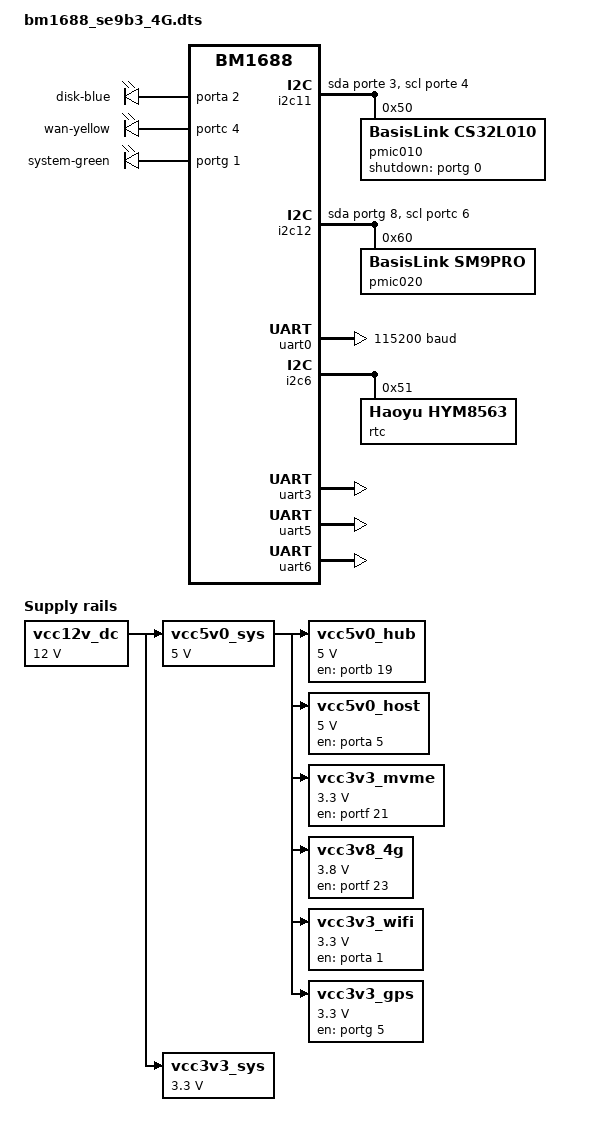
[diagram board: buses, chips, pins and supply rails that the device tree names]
/dts-v1/;
#include "soph_base_arm64.dtsi"
//#include "soph_asic_bga.dtsi"
#include "soph_asic_emmc.dtsi"
#include "soph_default_memmap_4G.dtsi"

/ {
	aliases {
		serial0 = &uart0;
	};

	chosen {
		stdout-path = "serial2"; // "serial0:115200n8", no arguments means no re-initialization
	};

	reserved-memory {
		#address-cells = <0x2>;
		#size-cells = <0x2>;
		ranges;
#ifndef __UBOOT__
		//0x1_0400_0000 - 0x1_2400_0000 for TPU (owner: zhuolin.li@sophgo.com)
		scalar_reserved: scalar_mem {
			reg = <0x1 0x04000000 0x0 0x20000000>;  //512MB for TPU firmware
			no-map;
		};

		//0x1_2c00_0000 - 0x1_5c00_0000 for TPU (owner: zhuolin.li@sophgo.com)
		ion_for_npu: ion_npu_mem {
			compatible = "npu-region";
			reg = <0x1 0x24000000 0x0 0x30000000>; // 768MB, for TPU
		};

		cma_reserved: linux,cma {
			compatible = "shared-dma-pool";
			reusable;
			size = <0x0 0x10000000>; // 256m for cma
			alloc-ranges = <0x1 0x54000000 0x0 0x10000000>;
			alignment = <0x0 0x100000>; // 1MB
			linux,cma-default;
		};

		//0x1_6400_0000 - 0x1_B400_0000 for VPP
		ion_for_vpp: ion_vpp_mem {
			compatible = "vpp-region";
			reg = <0x1 0x64000000 0x0 0x50000000>; // 1280MB, for VPP
		};
#endif
	};

	pcie1:pcie@20400000 {
		pipe-mode = <0x2>; //b'00 x2&&x2; b'10 sata&&x2
		reset-gpio = <&porte 2 GPIO_ACTIVE_HIGH>; //gpio 130
	};

	/delete-node/ cv-sd1;
	sd:cv-sd@29310000 {
		pwr-gpios = <&portg 6 GPIO_ACTIVE_HIGH>;
	};

	thermal-zones {
		soc_thermal_0 {
			trips {
				soc_thermal_trip_0 {
					temperature = <90000>; /* millicelsius 85->110000 */
					hysteresis = <10000>; /* millicelsius */
					type = "passive";
				};

				soc_thermal_trip_1 {
					temperature = <100000>; /* millicelsius 95->120 */
					hysteresis = <20000>; /* millicelsius */
					type = "passive";
				};

				soc_thermal_crtical_0 {
					temperature = <115000>; /* millicelsius 105->125 */
					hysteresis = <0>; /* millicelsius */
					type = "critical";
				};
			};
		};
	};

	bsl_leds: bsl_leds {
		compatible = "gpio-leds";
		disk-led {
			label = "disk-blue";
			gpios = <&porta 2 GPIO_ACTIVE_HIGH>;
			default-state = "off";
		};

		wan-led {
			label = "wan-yellow";
			gpios = <&portc 4 GPIO_ACTIVE_HIGH>;
			default-state = "off";
		};

		sys_led {
			gpios = <&portg 1 GPIO_ACTIVE_HIGH>;
			label = "system-green";
			linux,default-trigger = "heartbeat";
			default-state = "on";
		};
	};

	vcc12v_dc: vcc12v-dc {
		compatible = "regulator-fixed";
		regulator-name = "vcc12v_dc";
		regulator-always-on;
		regulator-boot-on;
		regulator-min-microvolt = <12000000>;
		regulator-max-microvolt = <12000000>;
	};

	vcc5v0_sys: vcc5v0-sys {
		compatible = "regulator-fixed";
		regulator-name = "vcc5v0_sys";
		regulator-always-on;
		regulator-boot-on;
		regulator-min-microvolt = <5000000>;
		regulator-max-microvolt = <5000000>;
		vin-supply = <&vcc12v_dc>;
	};

	vcc3v3_sys: vcc3v3-sys {
		compatible = "regulator-fixed";
		regulator-name = "vcc3v3_sys";
		regulator-always-on;
		regulator-boot-on;
		regulator-min-microvolt = <3300000>;
		regulator-max-microvolt = <3300000>;
		vin-supply = <&vcc12v_dc>;
	};

	vcc5v0_hub: vcc5v0-hub {
		compatible = "regulator-fixed";
		regulator-name = "vcc5v0_hub";
		regulator-always-on;
		regulator-boot-on;
		regulator-min-microvolt = <5000000>;
		regulator-max-microvolt = <5000000>;
		enable-active-high;
		gpios = <&portb 19 GPIO_ACTIVE_HIGH>;
		vin-supply = <&vcc5v0_sys>;
	};

	vcc5v0_host: vcc5v0-host {
		compatible = "regulator-fixed";
		regulator-name = "vcc5v0_host";
		regulator-boot-on;
		regulator-always-on;
		regulator-min-microvolt = <5000000>;
		regulator-max-microvolt = <5000000>;
		enable-active-high;
		gpios = <&porta 5 GPIO_ACTIVE_HIGH>;
		vin-supply = <&vcc5v0_sys>;
	};

	vcc3v3_mvme: vcc3v3-nvme {
		compatible = "regulator-fixed";
		regulator-name = "vcc3v3_mvme";
		regulator-always-on;
		regulator-boot-on;
		regulator-min-microvolt = <3300000>;
		regulator-max-microvolt = <3300000>;
		enable-active-high;
		gpios = <&portf 21 GPIO_ACTIVE_HIGH>;
		vin-supply = <&vcc5v0_sys>;
	};

	vcc3v8_4g: vcc3v8-4g {
		compatible = "regulator-fixed";
		regulator-name = "vcc3v8_4g";
		regulator-boot-on;
		regulator-always-on;
		regulator-min-microvolt = <3800000>;
		regulator-max-microvolt = <3800000>;
		enable-active-high;
		gpios = <&portf 23 GPIO_ACTIVE_HIGH>;
		vin-supply = <&vcc5v0_sys>;
	};

	vcc3v3_wifi: vcc3v3-wifi {
		compatible = "regulator-fixed";
		regulator-name = "vcc3v3_wifi";
		regulator-boot-on;
		regulator-always-on;
		regulator-min-microvolt = <3300000>;
		regulator-max-microvolt = <3300000>;
		enable-active-high;
		gpios = <&porta 1 GPIO_ACTIVE_HIGH>;
		vin-supply = <&vcc5v0_sys>;
	};

	vcc3v3_gps: vcc3v3-gps {
		compatible = "regulator-fixed";
		regulator-name = "vcc3v3_gps";
		regulator-boot-on;
		regulator-always-on;
		regulator-min-microvolt = <3300000>;
		regulator-max-microvolt = <3300000>;
		enable-active-high;
		gpios = <&portg 5 GPIO_ACTIVE_HIGH>;
		vin-supply = <&vcc5v0_sys>;
	};

	i2c11: i2c@11 {
		compatible = "i2c-gpio";
		sda-gpios = <&porte 3 GPIO_ACTIVE_HIGH>;
		scl-gpios = <&porte 4 GPIO_ACTIVE_HIGH>;
		i2c-gpio,delay-us = <5>;
		#address-cells = <1>;
		#size-cells = <0>;
		reset-names = "i2c11";
		status = "okay";

		pmic010: pmic010@50 {
			compatible = "BasisLink,cs32l010";
			shutdown-gpio = <&portg 0 GPIO_ACTIVE_HIGH>;
			reg = <0x50>;
		};
	};

	i2c12: i2c@12 {
		compatible = "i2c-gpio";
		sda-gpios = <&portg 8 GPIO_ACTIVE_HIGH>;
		scl-gpios = <&portc 6 GPIO_ACTIVE_HIGH>;
		i2c-gpio,delay-us = <5>;
		#address-cells = <1>;
		#size-cells = <0>;
		reset-names = "i2c12";
		status = "okay";

		pmic020: pmic020@60 {
			compatible = "BasisLink,SM9Pro";
			reg = <0x60>;
		};
	};
};

&uart0 {
	clock-frequency = <200000000>;
	current-speed = <115200>;
};

&hdmi {
	phy-table =
			<0  0x0007 0x0120 0x8d88>,
			<1  0x0007 0x0120 0x8d88>,
			<2  0x0007 0x0120 0x8d88>,
			<3  0x0007 0x0120 0x8d88>,
			<4  0x0007 0x0120 0x8d88>,
			<5  0x0007 0x0120 0x8d88>,
			<6  0x0000 0x0120 0x83F8>,
			<7  0x0000 0x0120 0x83F8>,
			<8  0x0000 0x0120 0x83F8>,
			<9  0x0000 0x0080 0x8FF4>,
			<10 0x0000 0x0080 0x8FF4>;
};


&usbdrd3_0 {
	usbdrd_dwc3_0: usb@39010000 {
		role-switch-default-mode = "host";
	};
};


&i2c6 {
	rtc@51 {
		compatible = "Haoyu,hym8563";
		init_date = "2024/01/01";
		reg = <0x51>;
	};
};

&gpio_leds {
	status = "disable";
};

&uart3 {
	status = "okay";
};

&uart5 {
	status = "okay";
};

&uart6 {
	status = "okay";
};
